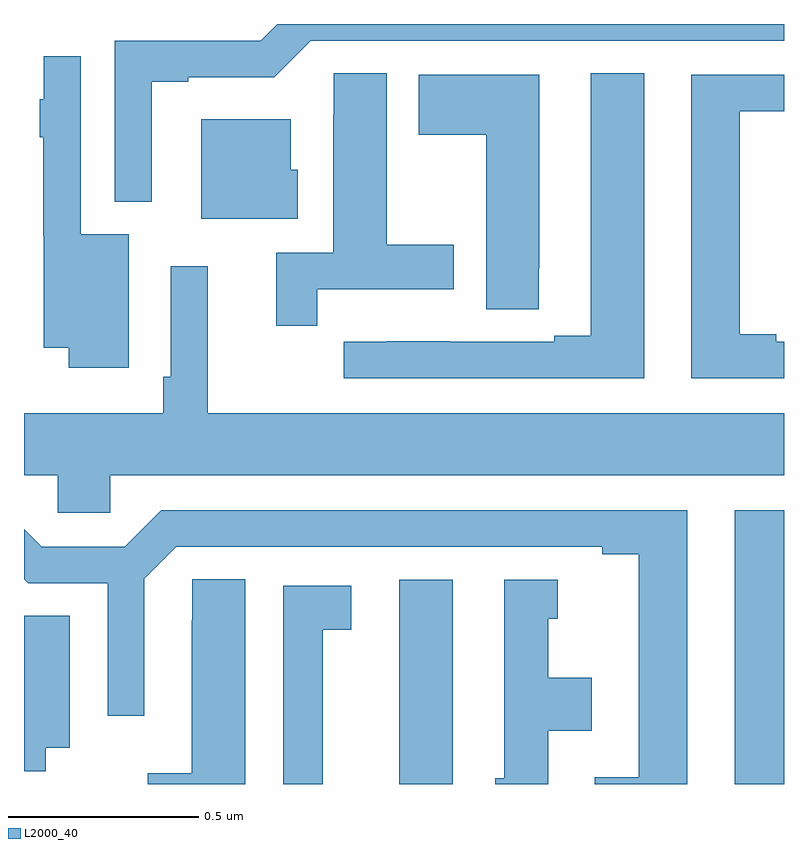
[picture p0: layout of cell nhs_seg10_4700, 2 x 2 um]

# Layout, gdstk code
import gdstk
lib = gdstk.Library(unit=1e-6, precision=1e-09)
def R(c, l, rs):  # rectangles x0, y0, x1, y1
    for r in rs: c.add(gdstk.rectangle(r[:2], r[2:], *l))
def P(c, l, *ps):  # polygons
    for p in ps: c.add(gdstk.Polygon(p, *l))
L2000_40 = (2000, 40)

nhs_seg10_4700 = lib.new_cell('nhs_seg10_4700')
R(nhs_seg10_4700, L2000_40, [(169.988,1303.5,170.128,1304.038), (170.87,1303.5,171,1304.22)])
P(nhs_seg10_4700, L2000_40, [(169.336,1305.348),(169.432,1305.348),(169.432,1305.36),(169.659,1305.36),(169.755,1305.456),(171,1305.456),(171,1305.5),(169.667,1305.5),(169.623,1305.456),(169.239,1305.456),(169.239,1305.032),(169.336,1305.032)],
  [(169.276,1304.947),(169.149,1304.947),(169.149,1305.415),(169.052,1305.415),(169.052,1305.302),(169.041,1305.302),(169.041,1305.202),(169.051,1305.202),(169.051,1304.943),(169.052,1304.943),(169.052,1304.648),(169.118,1304.648),(169.118,1304.595),(169.276,1304.595)],
  [(170.632,1305.371),(170.492,1305.371),(170.492,1304.679),(170.396,1304.679),(170.396,1304.664),(170.12,1304.664),(170.12,1304.665),(169.954,1304.665),(169.954,1304.664),(169.842,1304.664),(169.842,1304.568),(170.632,1304.568)],
  [(169.772,1304.802),(170.131,1304.802),(170.131,1304.919),(169.954,1304.919),(169.954,1305.371),(169.815,1305.371),(169.815,1305.26),(169.814,1305.26),(169.814,1304.898),(169.664,1304.898),(169.664,1304.706),(169.772,1304.706)],
  [(170.355,1304.857),(170.356,1304.857),(170.356,1305.367),(170.039,1305.367),(170.039,1305.208),(170.216,1305.208),(170.216,1304.749),(170.355,1304.749)],
  [(171,1304.664),(170.98,1304.664),(170.98,1304.684),(170.884,1304.684),(170.884,1305.27),(171,1305.27),(171,1305.366),(170.756,1305.366),(170.756,1304.568),(171,1304.568)],
  [(169.72,1305.117),(169.702,1305.117),(169.702,1305.25),(169.466,1305.25),(169.466,1304.987),(169.72,1304.987)],
  [(169.227,1304.312),(171,1304.312),(171,1304.476),(169.484,1304.476),(169.484,1304.863),(169.386,1304.863),(169.386,1304.572),(169.366,1304.572),(169.366,1304.476),(169,1304.476),(169,1304.312),(169.089,1304.312),(169.089,1304.214),(169.227,1304.214)],
  [(170.746,1304.22),(169.361,1304.22),(169.265,1304.124),(169.047,1304.124),(169,1304.171),(169,1304.039),(169.011,1304.028),(169.221,1304.028),(169.221,1303.68),(169.317,1303.68),(169.317,1304.04),(169.401,1304.124),(170.522,1304.124),(170.522,1304.104),(170.618,1304.104),(170.618,1303.518),(170.502,1303.518),(170.502,1303.5),(170.746,1303.5)],
  [(169.582,1304.039),(169.443,1304.039),(169.443,1303.931),(169.442,1303.931),(169.442,1303.528),(169.326,1303.528),(169.326,1303.5),(169.582,1303.5)],
  [(170.38,1303.64),(170.494,1303.64),(170.494,1303.78),(170.38,1303.78),(170.38,1303.935),(170.404,1303.935),(170.404,1304.038),(170.264,1304.038),(170.264,1303.515),(170.24,1303.515),(170.24,1303.5),(170.38,1303.5)],
  [(169.786,1303.906),(169.861,1303.906),(169.861,1304.022),(169.682,1304.022),(169.682,1303.5),(169.786,1303.5)],
  [(169.057,1303.595),(169.12,1303.595),(169.12,1303.943),(169,1303.943),(169,1303.534),(169.057,1303.534)])

lib.write_gds('nhs_seg10_4700.gds')
